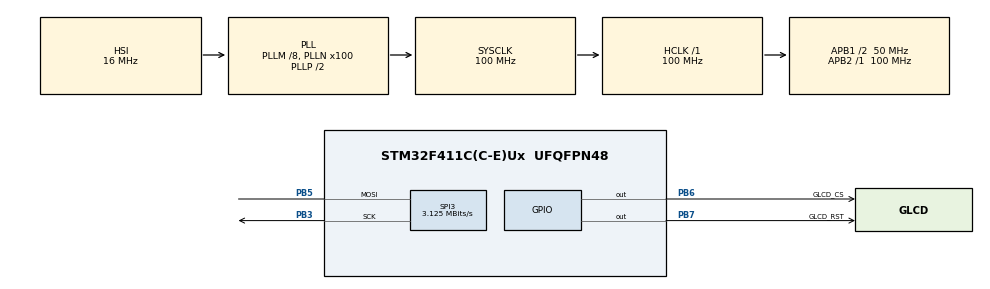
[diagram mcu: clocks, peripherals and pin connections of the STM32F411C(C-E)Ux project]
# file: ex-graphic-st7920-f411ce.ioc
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Mcu.Family=STM32F4
Mcu.Name=STM32F411C(C-E)Ux
Mcu.Package=UFQFPN48
NVIC.PriorityGroup=NVIC_PRIORITYGROUP_4
PA13.Mode=Serial_Wire
PA13.Signal=SYS_JTMS-SWDIO
PA14.Mode=Serial_Wire
PA14.Signal=SYS_JTCK-SWCLK
PB3.Mode=Simplex_Bidirectional_Master
PB3.Signal=SPI3_SCK
PB5.Mode=Simplex_Bidirectional_Master
PB5.Signal=SPI3_MOSI
PB6.GPIO_Label=GLCD_CS
PB6.GPIO_Speed=GPIO_SPEED_FREQ_VERY_HIGH
PB6.Signal=GPIO_Output
PB7.GPIO_Label=GLCD_RST
PB7.GPIO_Speed=GPIO_SPEED_FREQ_VERY_HIGH
PB7.PinState=GPIO_PIN_SET
PB7.Signal=GPIO_Output
PH0\ -\ OSC_IN.Mode=HSE-External-Oscillator
PH0\ -\ OSC_IN.Signal=RCC_OSC_IN
PH1\ -\ OSC_OUT.Mode=HSE-External-Oscillator
PH1\ -\ OSC_OUT.Signal=RCC_OSC_OUT
ProjectManager.HeapSize=0x200
ProjectManager.StackSize=0x400
ProjectManager.TargetToolchain=STM32CubeIDE
RCC.48MHZClocksFreq_Value=50000000
RCC.AHBFreq_Value=100000000
RCC.APB1CLKDivider=RCC_HCLK_DIV2
RCC.APB1Freq_Value=50000000
RCC.APB1TimFreq_Value=100000000
RCC.APB2Freq_Value=100000000
RCC.APB2TimFreq_Value=100000000
RCC.CortexFreq_Value=100000000
RCC.HCLKFreq_Value=100000000
RCC.HSE_VALUE=25000000
RCC.HSI_VALUE=16000000
RCC.LSE_VALUE=32768
RCC.PLLM=8
RCC.PLLN=100
RCC.SYSCLKFreq_VALUE=100000000
RCC.SYSCLKSource=RCC_SYSCLKSOURCE_PLLCLK
RCC.VCOOutputFreq_Value=200000000
SPI3.BaudRatePrescaler=SPI_BAUDRATEPRESCALER_16
SPI3.CLKPhase=SPI_PHASE_2EDGE
SPI3.CalculateBaudRate=3.125 MBits/s
SPI3.Direction=SPI_DIRECTION_1LINE
SPI3.Mode=SPI_MODE_MASTER
SPI3.VirtualType=VM_MASTER
board=custom

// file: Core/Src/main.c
/* USER CODE BEGIN Header */
/**
 ******************************************************************************
 * @file           : main.c
 * @brief          : Main program body
 ******************************************************************************
 * @attention
 *
 * Copyright (c) 2024 STMicroelectronics.
 * All rights reserved.
 *
 * This software is licensed under terms that can be found in the LICENSE file
 * in the root directory of this software component.
 * If no LICENSE file comes with this software, it is provided AS-IS.
 *
 ******************************************************************************
 */
/* USER CODE END Header */
#include "main.h"

/* USER CODE BEGIN Includes */
#include <string.h>
#include <stdio.h>

#include "GraphicDisplay.h"
#include "GraphicDisplay_Fonts.h"
#include "drivers/st7920/st7920.h"
/* USER CODE END Includes */

SPI_HandleTypeDef hspi3;

/* USER CODE BEGIN PV */
st7920_t St7920 = {0};
gd_t Graphic = {0};

#define cobra_width 	 64
#define cobra_height 	 64
const unsigned char cobra_bmp [] ={
		0x00,0x00,0x00,0xb4,0x00,0x00,0x00,0x00,0x00,0x00,0x00,0xef,0x03,0x00,0x00,0x00,
		0x00,0x00,0xc0,0x00,0x06,0x00,0x00,0x00,0x00,0x00,0x60,0x00,0x18,0x00,0x00,0x00,
		0x00,0x00,0x30,0x0e,0x30,0x00,0x00,0x00,0x00,0x00,0x98,0x1b,0x70,0x00,0x00,0x00,
		0x00,0x00,0x88,0x30,0xd0,0x00,0x00,0x00,0x00,0x00,0x84,0x68,0x90,0x01,0x00,0x00,
		0x00,0x00,0xc6,0xdc,0x30,0x03,0x00,0x00,0x00,0x00,0x82,0x87,0x21,0x06,0x00,0x00,
		0x00,0x00,0x02,0x03,0xc3,0x0c,0x00,0x00,0x00,0x00,0x03,0x01,0x86,0x3f,0x00,0x00,
		0x00,0x00,0x81,0x01,0x0c,0xe0,0x00,0x00,0x00,0x00,0x81,0x00,0x18,0x80,0x03,0x00,
		0x00,0x00,0x83,0x00,0x70,0x00,0x06,0x00,0x00,0x00,0x8f,0x00,0x40,0x00,0x04,0x00,
		0x00,0x00,0x99,0x00,0xc0,0x01,0x0c,0x00,0x00,0x00,0x91,0x00,0x00,0x03,0x04,0x00,
		0x00,0x00,0xb1,0x01,0x00,0x06,0x04,0x00,0x00,0x00,0x93,0x00,0x00,0x0c,0x0c,0x00,
		0x00,0x00,0x11,0x01,0x00,0x08,0x04,0x00,0x00,0x00,0x1a,0x03,0x00,0x18,0x08,0x00,
		0x00,0x00,0x0e,0x06,0x00,0x10,0x08,0x00,0x00,0x00,0x06,0x06,0x00,0x30,0x08,0x00,
		0x00,0x00,0x04,0x1b,0x00,0x60,0x0c,0x00,0x00,0x00,0x0c,0x32,0x00,0xc0,0x07,0x00,
		0x00,0x00,0x18,0x63,0x00,0x80,0x04,0x00,0x00,0x00,0x30,0xc6,0x00,0x00,0x0c,0x00,
		0x00,0x00,0x60,0xcc,0x01,0x00,0x08,0x00,0x00,0x00,0xc0,0x78,0x03,0x00,0x38,0x00,
		0x00,0x00,0x80,0x01,0x06,0x00,0x68,0x00,0x00,0x00,0x00,0x03,0x1c,0x00,0x0c,0x00,
		0x00,0x00,0x20,0x06,0x18,0x00,0x00,0x00,0x00,0x00,0xfe,0xff,0xff,0x7f,0x00,0x00,
		0x00,0x00,0x03,0x20,0x08,0xc0,0x00,0x00,0x00,0x00,0x01,0x60,0x0c,0x80,0x00,0x00,
		0x00,0x80,0x01,0xc0,0x07,0x80,0x01,0x00,0x00,0x80,0x00,0x80,0x02,0x00,0x01,0x00,
		0x00,0x00,0x01,0x00,0x00,0x80,0x00,0x00,0x00,0x00,0x03,0x00,0x00,0xc0,0x00,0x00,
		0x00,0xe0,0xff,0xff,0xff,0xff,0x07,0x00,0x00,0x38,0x49,0xb2,0x2c,0x49,0x1a,0x00,
		0x00,0x08,0x00,0x60,0x08,0x00,0x10,0x00,0x00,0x0c,0x00,0x40,0x0e,0x00,0x30,0x00,
		0x00,0x04,0xf0,0xc0,0x03,0x1e,0x20,0x00,0x00,0x08,0x98,0x01,0x00,0x33,0x30,0x00,
		0x00,0x08,0x0c,0x01,0x00,0x61,0x10,0x00,0x00,0xba,0x4c,0x2b,0xd5,0x65,0x5e,0x00,
		0x80,0xff,0xff,0xff,0xff,0xff,0xff,0x01,0xc0,0x00,0x00,0x20,0x08,0x00,0x00,0x03,
		0x40,0x00,0x00,0x60,0x0c,0x00,0x00,0x02,0x60,0x00,0x14,0xc0,0x07,0x50,0x00,0x06,
		0x20,0x00,0x3e,0x00,0x01,0xf8,0x00,0x04,0x40,0x00,0x63,0x00,0x00,0x8c,0x01,0x02,
		0xc0,0x00,0x41,0x00,0x00,0x04,0x01,0x03,0xf8,0xff,0xff,0xff,0xff,0xff,0xff,0x1f,
		0x0e,0x82,0x20,0x28,0x89,0x20,0x08,0x72,0x02,0x00,0x00,0x60,0x0c,0x00,0x00,0x40,
		0x03,0x40,0x00,0x40,0x06,0x00,0x02,0xc0,0x02,0xf0,0x01,0xc0,0x03,0x80,0x0f,0x80,
		0x03,0x18,0x03,0x00,0x00,0xc0,0x18,0x40,0x02,0x08,0x02,0x00,0x00,0x40,0x10,0x60,
		0xae,0x5a,0x57,0x55,0xb5,0xea,0x5e,0x35,0xf8,0xff,0xff,0xff,0xff,0xff,0xff,0x1f};
/* USER CODE END PV */

void SystemClock_Config(void);
static void MX_GPIO_Init(void);
static void MX_SPI3_Init(void);

/* USER CODE BEGIN 0 */
void _glcd_cs(uint8_t Signal){
	HAL_GPIO_WritePin(GLCD_CS_GPIO_Port, GLCD_CS_Pin, Signal);
}

void _glcd_reset(uint8_t Signal){
	HAL_GPIO_WritePin(GLCD_RST_GPIO_Port, GLCD_RST_Pin, Signal);
}

uint8_t _glcd_spi_write(uint8_t *buff, uint32_t len){
	return HAL_SPI_Transmit(&hspi3, buff, len, 100);
}
/* USER CODE END 0 */

int main(void)
{

	/* USER CODE BEGIN 1 */
	st7920_params_t St7920_params = {
			.Mode = ST7920_MODE_SPI,
			.u32Heigth = 64,
			.u32Width = 128,
			.bUseExternalFrameBuffer = false,
			.delayMs = HAL_Delay,
			.spiCs = _glcd_cs,
			.spiReset = _glcd_reset,
			.spiWrite = _glcd_spi_write

	};
	gd_params_t Graphic_Params = {
			.DisplayDriver = Gd_Driver_ST7920,
			.DisplayHandle = (void*)(&St7920),
			.u32Height = 64,
			.u32Width = 128
	};
	/* USER CODE END 1 */

	/* MCU Configuration--------------------------------------------------------*/

	/* Reset of all peripherals, Initializes the Flash interface and the Systick. */
	HAL_Init();

	/* Configure the system clock */
	SystemClock_Config();

	/* Initialize all configured peripherals */
	MX_GPIO_Init();
	MX_SPI3_Init();
	/* USER CODE BEGIN 2 */
	ST7920_Init(&St7920, &St7920_params);

	GD_Init(&Graphic, &Graphic_Params);

	GD_DrawBitmap(&Graphic, 0, 0, cobra_bmp, cobra_width, cobra_height, GD_WHITE);

	GD_SetCursor(&Graphic, 66, 10);
	GD_WriteString(&Graphic, "ST7920", Font_7x10, GD_WHITE);

	GD_DrawCircle(&Graphic, 90, 30, 7, GD_WHITE);
	GD_FillCircle(&Graphic, 90, 30, 5, GD_WHITE);

	GD_DrawRectangle(&Graphic, 78, 43, 122, 62, GD_WHITE);
	GD_FillRectangle(&Graphic, 80, 45, 120, 60, GD_WHITE);

	GD_UpdateScreen(&Graphic);

	HAL_Delay(1000);
	/* USER CODE END 2 */

	/* Infinite loop */
	while (1)
	{

	}
}

void SystemClock_Config(void)
{
	RCC_OscInitTypeDef RCC_OscInitStruct = {0};
	RCC_ClkInitTypeDef RCC_ClkInitStruct = {0};

	/** Configure the main internal regulator output voltage
	 */
	__HAL_RCC_PWR_CLK_ENABLE();
	__HAL_PWR_VOLTAGESCALING_CONFIG(PWR_REGULATOR_VOLTAGE_SCALE1);

	/** Initializes the RCC Oscillators according to the specified parameters
	 * in the RCC_OscInitTypeDef structure.
	 */
	RCC_OscInitStruct.OscillatorType = RCC_OSCILLATORTYPE_HSI;
	RCC_OscInitStruct.HSIState = RCC_HSI_ON;
	RCC_OscInitStruct.HSICalibrationValue = RCC_HSICALIBRATION_DEFAULT;
	RCC_OscInitStruct.PLL.PLLState = RCC_PLL_ON;
	RCC_OscInitStruct.PLL.PLLSource = RCC_PLLSOURCE_HSI;
	RCC_OscInitStruct.PLL.PLLM = 8;
	RCC_OscInitStruct.PLL.PLLN = 100;
	RCC_OscInitStruct.PLL.PLLP = RCC_PLLP_DIV2;
	RCC_OscInitStruct.PLL.PLLQ = 4;
	if (HAL_RCC_OscConfig(&RCC_OscInitStruct) != HAL_OK)
	{
		Error_Handler();
	}

	/** Initializes the CPU, AHB and APB buses clocks
	 */
	RCC_ClkInitStruct.ClockType = RCC_CLOCKTYPE_HCLK|RCC_CLOCKTYPE_SYSCLK
			|RCC_CLOCKTYPE_PCLK1|RCC_CLOCKTYPE_PCLK2;
	RCC_ClkInitStruct.SYSCLKSource = RCC_SYSCLKSOURCE_PLLCLK;
	RCC_ClkInitStruct.AHBCLKDivider = RCC_SYSCLK_DIV1;
	RCC_ClkInitStruct.APB1CLKDivider = RCC_HCLK_DIV2;
	RCC_ClkInitStruct.APB2CLKDivider = RCC_HCLK_DIV1;

	if (HAL_RCC_ClockConfig(&RCC_ClkInitStruct, FLASH_LATENCY_3) != HAL_OK)
	{
		Error_Handler();
	}
}

static void MX_SPI3_Init(void)
{

	/* SPI3 parameter configuration*/
	hspi3.Instance = SPI3;
	hspi3.Init.Mode = SPI_MODE_MASTER;
	hspi3.Init.Direction = SPI_DIRECTION_1LINE;
	hspi3.Init.DataSize = SPI_DATASIZE_8BIT;
	hspi3.Init.CLKPolarity = SPI_POLARITY_LOW;
	hspi3.Init.CLKPhase = SPI_PHASE_2EDGE;
	hspi3.Init.NSS = SPI_NSS_SOFT;
	hspi3.Init.BaudRatePrescaler = SPI_BAUDRATEPRESCALER_16;
	hspi3.Init.FirstBit = SPI_FIRSTBIT_MSB;
	hspi3.Init.TIMode = SPI_TIMODE_DISABLE;
	hspi3.Init.CRCCalculation = SPI_CRCCALCULATION_DISABLE;
	hspi3.Init.CRCPolynomial = 10;
	if (HAL_SPI_Init(&hspi3) != HAL_OK)
	{
		Error_Handler();
	}

}

static void MX_GPIO_Init(void)
{
	GPIO_InitTypeDef GPIO_InitStruct = {0};

	/* GPIO Ports Clock Enable */
	__HAL_RCC_GPIOH_CLK_ENABLE();
	__HAL_RCC_GPIOA_CLK_ENABLE();
	__HAL_RCC_GPIOB_CLK_ENABLE();

	/*Configure GPIO pin Output Level */
	HAL_GPIO_WritePin(GLCD_CS_GPIO_Port, GLCD_CS_Pin, GPIO_PIN_RESET);

	/*Configure GPIO pin Output Level */
	HAL_GPIO_WritePin(GLCD_RST_GPIO_Port, GLCD_RST_Pin, GPIO_PIN_SET);

	/*Configure GPIO pins : GLCD_CS_Pin GLCD_RST_Pin */
	GPIO_InitStruct.Pin = GLCD_CS_Pin|GLCD_RST_Pin;
	GPIO_InitStruct.Mode = GPIO_MODE_OUTPUT_PP;
	GPIO_InitStruct.Pull = GPIO_NOPULL;
	GPIO_InitStruct.Speed = GPIO_SPEED_FREQ_VERY_HIGH;
	HAL_GPIO_Init(GPIOB, &GPIO_InitStruct);

}

void Error_Handler(void)
{
	__disable_irq();
	while (1)
	{
	}
}
